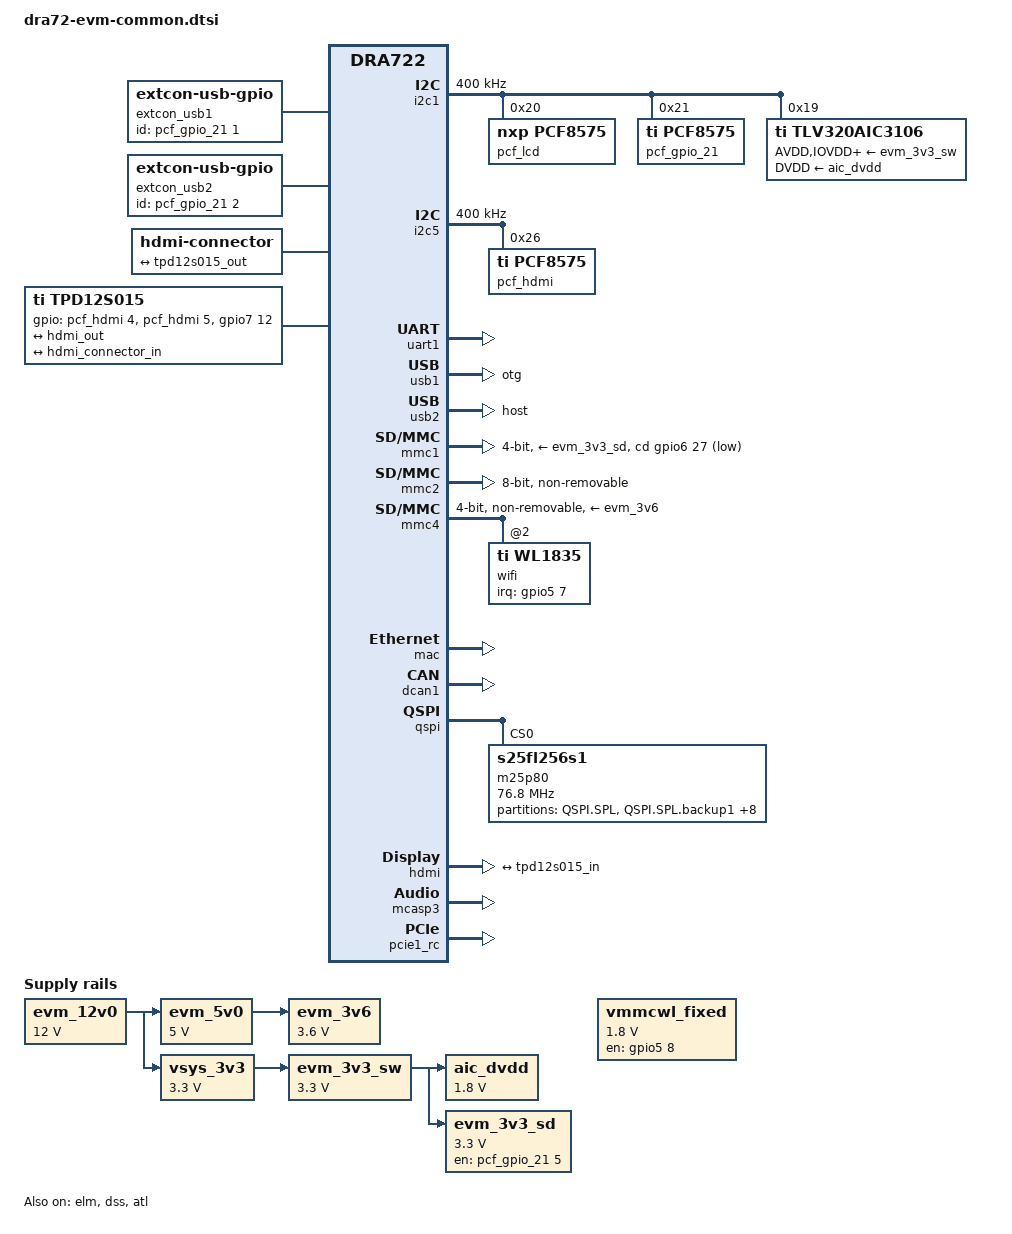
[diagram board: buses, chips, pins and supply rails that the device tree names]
/*
 * Copyright (C) 2014-2016 Texas Instruments Incorporated - http://www.ti.com/
 *
 * This program is free software; you can redistribute it and/or modify
 * it under the terms of the GNU General Public License version 2 as
 * published by the Free Software Foundation.
 */
/dts-v1/;

#include "dra72x.dtsi"
#include <dt-bindings/gpio/gpio.h>
#include <dt-bindings/clk/ti-dra7-atl.h>

/ {
	compatible = "ti,dra72-evm", "ti,dra722", "ti,dra72", "ti,dra7";

	aliases {
		display0 = &hdmi0;
	};

	chosen {
		stdout-path = &uart1;
	};

	evm_12v0: fixedregulator-evm12v0 {
		/* main supply */
		compatible = "regulator-fixed";
		regulator-name = "evm_12v0";
		regulator-min-microvolt = <12000000>;
		regulator-max-microvolt = <12000000>;
		regulator-always-on;
		regulator-boot-on;
	};

	evm_5v0: fixedregulator-evm5v0 {
		/* Output 1 of TPS43351QDAPRQ1 on dra72-evm */
		/* Output 1 of LM5140QRWGTQ1 on dra71-evm */
		compatible = "regulator-fixed";
		regulator-name = "evm_5v0";
		regulator-min-microvolt = <5000000>;
		regulator-max-microvolt = <5000000>;
		vin-supply = <&evm_12v0>;
		regulator-always-on;
		regulator-boot-on;
	};

	evm_3v6: fixedregulator-evm_3v6 {
		compatible = "regulator-fixed";
		regulator-name = "evm_3v6";
		regulator-min-microvolt = <3600000>;
		regulator-max-microvolt = <3600000>;
		vin-supply = <&evm_5v0>;
		regulator-always-on;
		regulator-boot-on;
	};

	vsys_3v3: fixedregulator-vsys3v3 {
		/* Output 2 of TPS43351QDAPRQ1 on dra72-evm */
		/* Output 2 of LM5140QRWGTQ1 on dra71-evm */
		compatible = "regulator-fixed";
		regulator-name = "vsys_3v3";
		regulator-min-microvolt = <3300000>;
		regulator-max-microvolt = <3300000>;
		vin-supply = <&evm_12v0>;
		regulator-always-on;
		regulator-boot-on;
	};

	evm_3v3_sw: fixedregulator-evm_3v3 {
		/* TPS22965DSG */
		compatible = "regulator-fixed";
		regulator-name = "evm_3v3";
		regulator-min-microvolt = <3300000>;
		regulator-max-microvolt = <3300000>;
		vin-supply = <&vsys_3v3>;
		regulator-always-on;
		regulator-boot-on;
	};

	aic_dvdd: fixedregulator-aic_dvdd {
		/* TPS77018DBVT */
		compatible = "regulator-fixed";
		regulator-name = "aic_dvdd";
		vin-supply = <&evm_3v3_sw>;
		regulator-min-microvolt = <1800000>;
		regulator-max-microvolt = <1800000>;
	};

	evm_3v3_sd: fixedregulator-sd {
		compatible = "regulator-fixed";
		regulator-name = "evm_3v3_sd";
		regulator-min-microvolt = <3300000>;
		regulator-max-microvolt = <3300000>;
		vin-supply = <&evm_3v3_sw>;
		enable-active-high;
		gpio = <&pcf_gpio_21 5 GPIO_ACTIVE_HIGH>;
	};

	extcon_usb1: extcon_usb1 {
		compatible = "linux,extcon-usb-gpio";
		id-gpio = <&pcf_gpio_21 1 GPIO_ACTIVE_HIGH>;
	};

	extcon_usb2: extcon_usb2 {
		compatible = "linux,extcon-usb-gpio";
		id-gpio = <&pcf_gpio_21 2 GPIO_ACTIVE_HIGH>;
	};

	hdmi0: connector {
		compatible = "hdmi-connector";
		label = "hdmi";

		type = "a";

		port {
			hdmi_connector_in: endpoint {
				remote-endpoint = <&tpd12s015_out>;
			};
		};
	};

	tpd12s015: encoder {
		compatible = "ti,tpd12s015";

		gpios = <&pcf_hdmi 4 GPIO_ACTIVE_HIGH>,	/* P4, CT CP HPD */
			<&pcf_hdmi 5 GPIO_ACTIVE_HIGH>,	/* P5, LS OE */
			<&gpio7 12 GPIO_ACTIVE_HIGH>;	/* gpio7_12/sp1_cs2, HPD */

		ports {
			#address-cells = <1>;
			#size-cells = <0>;

			port@0 {
				reg = <0>;

				tpd12s015_in: endpoint {
					remote-endpoint = <&hdmi_out>;
				};
			};

			port@1 {
				reg = <1>;

				tpd12s015_out: endpoint {
					remote-endpoint = <&hdmi_connector_in>;
				};
			};
		};
	};

	sound0: sound0 {
		compatible = "simple-audio-card";
		simple-audio-card,name = "DRA7xx-EVM";
		simple-audio-card,widgets =
			"Headphone", "Headphone Jack",
			"Line", "Line Out",
			"Microphone", "Mic Jack",
			"Line", "Line In";
		simple-audio-card,routing =
			"Headphone Jack",       "HPLOUT",
			"Headphone Jack",       "HPROUT",
			"Line Out",		"LLOUT",
			"Line Out",		"RLOUT",
			"MIC3L",		"Mic Jack",
			"MIC3R",		"Mic Jack",
			"Mic Jack",		"Mic Bias",
			"LINE1L",               "Line In",
			"LINE1R",               "Line In";
		simple-audio-card,format = "dsp_b";
		simple-audio-card,bitclock-master = <&sound0_master>;
		simple-audio-card,frame-master = <&sound0_master>;
		simple-audio-card,bitclock-inversion;

		sound0_master: simple-audio-card,cpu {
			sound-dai = <&mcasp3>;
			system-clock-frequency = <5644800>;
		};

		simple-audio-card,codec {
			sound-dai = <&tlv320aic3106>;
			clocks = <&atl_clkin2_ck>;
		};
	};

	vmmcwl_fixed: fixedregulator-mmcwl {
		compatible = "regulator-fixed";
		regulator-name = "vmmcwl_fixed";
		regulator-min-microvolt = <1800000>;
		regulator-max-microvolt = <1800000>;
		gpio = <&gpio5 8 GPIO_ACTIVE_HIGH>;
		enable-active-high;
	};
};

&dra7_pmx_core {
	dcan1_pins_default: dcan1_pins_default {
		pinctrl-single,pins = <
			DRA7XX_CORE_IOPAD(0x37d0, PIN_OUTPUT_PULLUP | MUX_MODE0) /* dcan1_tx */
			DRA7XX_CORE_IOPAD(0x3818, PULL_UP | MUX_MODE1)	/* wakeup0.dcan1_rx */
		>;
	};

	dcan1_pins_sleep: dcan1_pins_sleep {
		pinctrl-single,pins = <
			DRA7XX_CORE_IOPAD(0x37d0, MUX_MODE15 | PULL_UP)	/* dcan1_tx.off */
			DRA7XX_CORE_IOPAD(0x3818, MUX_MODE15 | PULL_UP)	/* wakeup0.off */
		>;
	};
};

&i2c1 {
	status = "okay";
	clock-frequency = <400000>;

	pcf_lcd: gpio@20 {
		compatible = "nxp,pcf8575";
		reg = <0x20>;
		gpio-controller;
		#gpio-cells = <2>;
		interrupt-controller;
		#interrupt-cells = <2>;
	};

	pcf_gpio_21: gpio@21 {
		compatible = "ti,pcf8575", "nxp,pcf8575";
		reg = <0x21>;
		lines-initial-states = <0x1408>;
		gpio-controller;
		#gpio-cells = <2>;
		interrupt-controller;
		#interrupt-cells = <2>;
	};

	tlv320aic3106: tlv320aic3106@19 {
		#sound-dai-cells = <0>;
		compatible = "ti,tlv320aic3106";
		reg = <0x19>;
		adc-settle-ms = <40>;
		ai3x-micbias-vg = <1>;		/* 2.0V */
		status = "okay";

		/* Regulators */
		AVDD-supply = <&evm_3v3_sw>;
		IOVDD-supply = <&evm_3v3_sw>;
		DRVDD-supply = <&evm_3v3_sw>;
		DVDD-supply = <&aic_dvdd>;
	};
};

&i2c5 {
	status = "okay";
	clock-frequency = <400000>;

	pcf_hdmi: pcf8575@26 {
		compatible = "ti,pcf8575", "nxp,pcf8575";
		reg = <0x26>;
		gpio-controller;
		#gpio-cells = <2>;
		/*
		 * initial state is used here to keep the mdio interface
		 * selected on RU89 through SEL_VIN4_MUX_S0, VIN2_S1 and
		 * VIN2_S0 driven high otherwise Ethernet stops working
		 * VIN6_SEL_S0 is low, thus selecting McASP3 over VIN6
		 */
		lines-initial-states = <0x0f2b>;

		p1 {
			/* vin6_sel_s0: high: VIN6, low: audio */
			gpio-hog;
			gpios = <1 GPIO_ACTIVE_HIGH>;
			output-low;
			line-name = "vin6_sel_s0";
		};
	};
};

&uart1 {
	status = "okay";
	interrupts-extended = <&crossbar_mpu GIC_SPI 67 IRQ_TYPE_LEVEL_HIGH>,
			      <&dra7_pmx_core 0x3e0>;
};

&elm {
	status = "okay";
};

&gpmc {
	/*
	 * For the existing IOdelay configuration via U-Boot we don't
	 * support NAND on dra72-evm. Keep it disabled. Enabling it
	 * requires a different configuration by U-Boot.
	 */
	status = "disabled";
	ranges = <0 0 0x08000000 0x01000000>;	/* minimum GPMC partition = 16MB */
	nand@0,0 {
		/* To use NAND, DIP switch SW5 must be set like so:
		 * SW5.1 (NAND_SELn) = ON (LOW)
		 * SW5.9 (GPMC_WPN) = OFF (HIGH)
		 */
		compatible = "ti,omap2-nand";
		reg = <0 0 4>;		/* device IO registers */
		interrupt-parent = <&gpmc>;
		interrupts = <0 IRQ_TYPE_NONE>, /* fifoevent */
			     <1 IRQ_TYPE_NONE>;	/* termcount */
		rb-gpios = <&gpmc 0 GPIO_ACTIVE_HIGH>; /* gpmc_wait0 pin */
		ti,nand-xfer-type = "prefetch-dma";
		ti,nand-ecc-opt = "bch8";
		ti,elm-id = <&elm>;
		nand-bus-width = <16>;
		gpmc,device-width = <2>;
		gpmc,sync-clk-ps = <0>;
		gpmc,cs-on-ns = <0>;
		gpmc,cs-rd-off-ns = <80>;
		gpmc,cs-wr-off-ns = <80>;
		gpmc,adv-on-ns = <0>;
		gpmc,adv-rd-off-ns = <60>;
		gpmc,adv-wr-off-ns = <60>;
		gpmc,we-on-ns = <10>;
		gpmc,we-off-ns = <50>;
		gpmc,oe-on-ns = <4>;
		gpmc,oe-off-ns = <40>;
		gpmc,access-ns = <40>;
		gpmc,wr-access-ns = <80>;
		gpmc,rd-cycle-ns = <80>;
		gpmc,wr-cycle-ns = <80>;
		gpmc,bus-turnaround-ns = <0>;
		gpmc,cycle2cycle-delay-ns = <0>;
		gpmc,clk-activation-ns = <0>;
		gpmc,wr-data-mux-bus-ns = <0>;
		/* MTD partition table */
		/* All SPL-* partitions are sized to minimal length
		 * which can be independently programmable. For
		 * NAND flash this is equal to size of erase-block */
		#address-cells = <1>;
		#size-cells = <1>;
		partition@0 {
			label = "NAND.SPL";
			reg = <0x00000000 0x000020000>;
		};
		partition@1 {
			label = "NAND.SPL.backup1";
			reg = <0x00020000 0x00020000>;
		};
		partition@2 {
			label = "NAND.SPL.backup2";
			reg = <0x00040000 0x00020000>;
		};
		partition@3 {
			label = "NAND.SPL.backup3";
			reg = <0x00060000 0x00020000>;
		};
		partition@4 {
			label = "NAND.u-boot-spl-os";
			reg = <0x00080000 0x00040000>;
		};
		partition@5 {
			label = "NAND.u-boot";
			reg = <0x000c0000 0x00100000>;
		};
		partition@6 {
			label = "NAND.u-boot-env";
			reg = <0x001c0000 0x00020000>;
		};
		partition@7 {
			label = "NAND.u-boot-env.backup1";
			reg = <0x001e0000 0x00020000>;
		};
		partition@8 {
			label = "NAND.kernel";
			reg = <0x00200000 0x00800000>;
		};
		partition@9 {
			label = "NAND.file-system";
			reg = <0x00a00000 0x0f600000>;
		};
	};
};

&omap_dwc3_1 {
	extcon = <&extcon_usb1>;
};

&omap_dwc3_2 {
	extcon = <&extcon_usb2>;
};

&usb1 {
	dr_mode = "otg";
	extcon = <&extcon_usb1>;
};

&usb2 {
	dr_mode = "host";
	extcon = <&extcon_usb2>;
};

&mmc1 {
	status = "okay";
	pinctrl-names = "default";
	pinctrl-0 = <&mmc1_pins_default>;
	vmmc-supply = <&evm_3v3_sd>;
	bus-width = <4>;
	/*
	 * SDCD signal is not being used here - using the fact that GPIO mode
	 * is a viable alternative
	 */
	cd-gpios = <&gpio6 27 GPIO_ACTIVE_LOW>;
	max-frequency = <192000000>;
};

&mmc2 {
	/* SW5-3 in ON position */
	status = "okay";
	pinctrl-names = "default";
	pinctrl-0 = <&mmc2_pins_default>;
	bus-width = <8>;
	non-removable;
	max-frequency = <192000000>;
};

&mmc4 {
	status = "okay";
	vmmc-supply = <&evm_3v6>;
	vqmmc-supply = <&vmmcwl_fixed>;
	bus-width = <4>;
	cap-power-off-card;
	keep-power-in-suspend;
	non-removable;
	pinctrl-names = "default", "hs", "sdr12", "sdr25";
	pinctrl-0 = <&mmc4_pins_default>;
	pinctrl-1 = <&mmc4_pins_default>;
	pinctrl-2 = <&mmc4_pins_default>;
	pinctrl-3 = <&mmc4_pins_default>;
	#address-cells = <1>;
	#size-cells = <0>;
	wifi@2 {
		compatible = "ti,wl1835";
		reg = <2>;
		interrupt-parent = <&gpio5>;
		interrupts = <7 IRQ_TYPE_EDGE_RISING>;
	};
};

&mac {
	status = "okay";
};

&dcan1 {
	status = "ok";
	pinctrl-names = "default", "sleep", "active";
	pinctrl-0 = <&dcan1_pins_sleep>;
	pinctrl-1 = <&dcan1_pins_sleep>;
	pinctrl-2 = <&dcan1_pins_default>;
};

&qspi {
	status = "okay";

	spi-max-frequency = <76800000>;
	m25p80@0 {
		compatible = "s25fl256s1";
		spi-max-frequency = <76800000>;
		reg = <0>;
		spi-tx-bus-width = <1>;
		spi-rx-bus-width = <4>;
		#address-cells = <1>;
		#size-cells = <1>;

		/* MTD partition table.
		 * The ROM checks the first four physical blocks
		 * for a valid file to boot and the flash here is
		 * 64KiB block size.
		 */
		partition@0 {
			label = "QSPI.SPL";
			reg = <0x00000000 0x000010000>;
		};
		partition@1 {
			label = "QSPI.SPL.backup1";
			reg = <0x00010000 0x00010000>;
		};
		partition@2 {
			label = "QSPI.SPL.backup2";
			reg = <0x00020000 0x00010000>;
		};
		partition@3 {
			label = "QSPI.SPL.backup3";
			reg = <0x00030000 0x00010000>;
		};
		partition@4 {
			label = "QSPI.u-boot";
			reg = <0x00040000 0x00100000>;
		};
		partition@5 {
			label = "QSPI.u-boot-spl-os";
			reg = <0x00140000 0x00080000>;
		};
		partition@6 {
			label = "QSPI.u-boot-env";
			reg = <0x001c0000 0x00010000>;
		};
		partition@7 {
			label = "QSPI.u-boot-env.backup1";
			reg = <0x001d0000 0x0010000>;
		};
		partition@8 {
			label = "QSPI.kernel";
			reg = <0x001e0000 0x0800000>;
		};
		partition@9 {
			label = "QSPI.file-system";
			reg = <0x009e0000 0x01620000>;
		};
	};
};

&dss {
	status = "ok";
};

&hdmi {
	status = "ok";

	port {
		hdmi_out: endpoint {
			remote-endpoint = <&tpd12s015_in>;
		};
	};
};

&atl {
	assigned-clocks = <&abe_dpll_sys_clk_mux>,
			  <&atl_clkctrl DRA7_ATL_CLKCTRL 26>,
			  <&dpll_abe_ck>,
			  <&dpll_abe_m2x2_ck>,
			  <&atl_clkin2_ck>;
	assigned-clock-parents = <&sys_clkin2>, <&dpll_abe_m2_ck>;
	assigned-clock-rates = <0>, <0>, <180633600>, <361267200>, <5644800>;

	status = "okay";

	atl2 {
		bws = <DRA7_ATL_WS_MCASP2_FSX>;
		aws = <DRA7_ATL_WS_MCASP3_FSX>;
	};
};

&mcasp3 {
	#sound-dai-cells = <0>;

	assigned-clocks = <&l4per_clkctrl DRA7_MCASP3_CLKCTRL 24>;
	assigned-clock-parents = <&atl_clkin2_ck>;

	status = "okay";

	op-mode = <0>;          /* MCASP_IIS_MODE */
	tdm-slots = <2>;
	/* 4 serializer */
	serial-dir = <  /* 0: INACTIVE, 1: TX, 2: RX */
		1 2 0 0
	>;
	tx-num-evt = <32>;
	rx-num-evt = <32>;
};

&mailbox5 {
	status = "okay";
	mbox_ipu1_ipc3x: mbox_ipu1_ipc3x {
		status = "okay";
	};
	mbox_dsp1_ipc3x: mbox_dsp1_ipc3x {
		status = "okay";
	};
};

&mailbox6 {
	status = "okay";
	mbox_ipu2_ipc3x: mbox_ipu2_ipc3x {
		status = "okay";
	};
};

&pcie1_rc {
	status = "okay";
};
